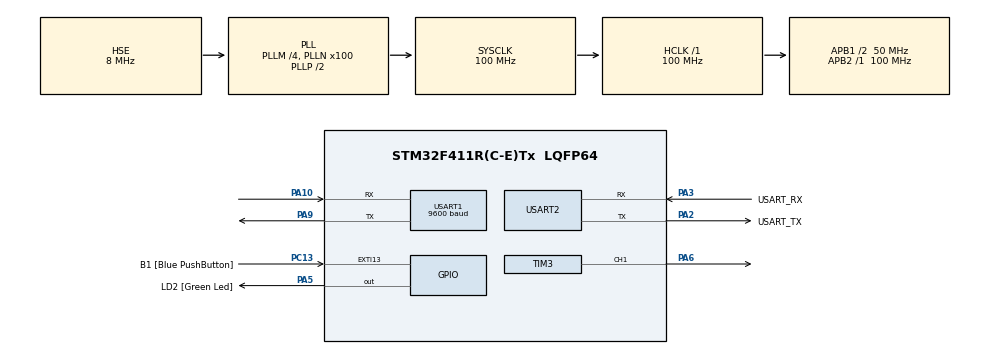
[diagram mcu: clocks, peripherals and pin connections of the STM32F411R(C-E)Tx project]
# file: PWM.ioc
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Mcu.Family=STM32F4
Mcu.Name=STM32F411R(C-E)Tx
Mcu.Package=LQFP64
NVIC.PriorityGroup=NVIC_PRIORITYGROUP_0
NVIC.USART1_IRQn=true\:0\:0\:false\:false\:true\:true\:true\:true
NVIC.USART2_IRQn=true\:0\:0\:false\:false\:true\:true\:true\:true
PA10.Mode=Asynchronous
PA10.Signal=USART1_RX
PA13.GPIO_Label=TMS
PA13.Mode=Serial_Wire
PA13.Signal=SYS_JTMS-SWDIO
PA14.GPIO_Label=TCK
PA14.Mode=Serial_Wire
PA14.Signal=SYS_JTCK-SWCLK
PA2.GPIO_Label=USART_TX
PA2.Mode=Asynchronous
PA2.Signal=USART2_TX
PA3.GPIO_Label=USART_RX
PA3.Mode=Asynchronous
PA3.Signal=USART2_RX
PA5.GPIO_Label=LD2 [Green Led]
PA5.Signal=GPIO_Output
PA6.Signal=S_TIM3_CH1
PA9.Mode=Asynchronous
PA9.Signal=USART1_TX
PB3.GPIO_Label=SWO
PB3.Signal=SYS_JTDO-SWO
PC13-ANTI_TAMP.GPIO_Label=B1 [Blue PushButton]
PC13-ANTI_TAMP.GPIO_ModeDefaultEXTI=GPIO_MODE_IT_FALLING
PC13-ANTI_TAMP.Signal=GPXTI13
PC14-OSC32_IN.Signal=RCC_OSC32_IN
PC15-OSC32_OUT.Signal=RCC_OSC32_OUT
PH0\ -\ OSC_IN.Mode=HSE-External-Oscillator
PH0\ -\ OSC_IN.Signal=RCC_OSC_IN
PH1\ -\ OSC_OUT.Mode=HSE-External-Oscillator
PH1\ -\ OSC_OUT.Signal=RCC_OSC_OUT
ProjectManager.HeapSize=0x200
ProjectManager.StackSize=0x400
ProjectManager.TargetToolchain=STM32CubeIDE
RCC.48MHZClocksFreq_Value=50000000
RCC.AHBFreq_Value=100000000
RCC.APB1CLKDivider=RCC_HCLK_DIV2
RCC.APB1Freq_Value=50000000
RCC.APB1TimFreq_Value=100000000
RCC.APB2Freq_Value=100000000
RCC.APB2TimFreq_Value=100000000
RCC.CortexFreq_Value=100000000
RCC.FLatency-AdvancedSettings=FLASH_LATENCY_3
RCC.HCLKFreq_Value=100000000
RCC.HSE_VALUE=8000000
RCC.HSI_VALUE=16000000
RCC.LSE_VALUE=32768
RCC.PLLM=4
RCC.PLLN=100
RCC.PLLSourceVirtual=RCC_PLLSOURCE_HSE
RCC.SYSCLKFreq_VALUE=100000000
RCC.SYSCLKSource=RCC_SYSCLKSOURCE_PLLCLK
RCC.VCOOutputFreq_Value=200000000
SH.S_TIM3_CH1.0=TIM3_CH1,PWM Generation1 CH1
TIM3.Channel-PWM\ Generation1\ CH1=TIM_CHANNEL_1
TIM3.Period=1000-1
TIM3.Prescaler=1000-1
USART1.BaudRate=9600
USART1.VirtualMode=VM_ASYNC
USART2.VirtualMode=VM_ASYNC
VP_TIM3_VS_ClockSourceINT.Mode=Internal
board=NUCLEO-F411RE

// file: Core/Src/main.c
/* USER CODE BEGIN Header */
/**
  ******************************************************************************
  * @file           : main.c
  * @brief          : Main program body
  ******************************************************************************
  * @attention
  *
  * Copyright (c) 2023 STMicroelectronics.
  * All rights reserved.
  *
  * This software is licensed under terms that can be found in the LICENSE file
  * in the root directory of this software component.
  * If no LICENSE file comes with this software, it is provided AS-IS.
  *
  ******************************************************************************
  */
/* USER CODE END Header */
#include "main.h"
#include "tim.h"
#include "usart.h"
#include "gpio.h"

/* USER CODE BEGIN Includes */
#include "stdio.h"
/* USER CODE END Includes */

/* USER CODE BEGIN PV */
  uint8_t rxData[1];
  uint8_t duty[3];
/* USER CODE END PV */

void SystemClock_Config(void);
/* USER CODE BEGIN PFP */
void HAL_UART_RxCpltCallback(UART_HandleTypeDef *huart)
{
	HAL_UART_Receive_IT(&huart2, rxData, sizeof(rxData)); // input from uart2
	HAL_UART_Receive_IT(&huart1, rxData, sizeof(rxData)); // input from uart2
	HAL_UART_Transmit_IT(&huart2, rxData, sizeof(rxData)); // output to uart2
	HAL_UART_Transmit_IT(&huart1, rxData, sizeof(rxData)); // output to uart2
}
/* USER CODE END PFP */

int main(void)
{

  /* MCU Configuration--------------------------------------------------------*/

  /* Reset of all peripherals, Initializes the Flash interface and the Systick. */
  HAL_Init();

  /* USER CODE BEGIN Init */
//  uint16_t dutyValue;

  /* USER CODE END Init */

  /* Configure the system clock */
  SystemClock_Config();

  /* Initialize all configured peripherals */
  MX_GPIO_Init();
  MX_TIM3_Init();
  MX_USART2_UART_Init();
  MX_USART1_UART_Init();
  /* USER CODE BEGIN 2 */
  HAL_TIM_PWM_Start(&htim3, TIM_CHANNEL_1);
  HAL_UART_Receive_IT(&huart1, rxData, sizeof(rxData));
  HAL_UART_Receive_IT(&huart2, rxData, sizeof(rxData));

  /* USER CODE END 2 */

  /* Infinite loop */
  while (1)
  {

    /* USER CODE BEGIN 3 */
//	  for(int i = 0 ; i < 10000 ; i++)
//	  {
//		  TIM3->CCR1 = i;
//		  HAL_Delay(1);
//	  }
//	  if(rxData[0] == 'a' || rxData[0] == 'b' || rxData[0] == 'c' || rxData[0] == 'd')
//	  {
//		  dutyValue = rxData[0];
//
//		  switch(dutyValue)
//		  {
//		  case 'a' :
//			  TIM3->CCR1 = 250; // 25% duty
//			  break;
//		  case 'b' :
//			  TIM3->CCR1 = 500; // 50% duty
//			  break;
//		  case 'c' :
//			  TIM3->CCR1 = 750; // 75% duty
//			  break;
//		  case 'd' :
//			  TIM3->CCR1 = 0; // 0% duty
//			  break;
//		  }
//	  }
//	  dutyValue = rxData[0];
	  duty[0] = atoi(rxData1);
	  duty[1] = atoi(rxData2);
	  duty[2] = atoi(rxData3);
	  TIM3->CCR1 = duty;
	  HAL_Delay(5);
  }
  /* USER CODE END 3 */
}

void SystemClock_Config(void)
{
  RCC_OscInitTypeDef RCC_OscInitStruct = {0};
  RCC_ClkInitTypeDef RCC_ClkInitStruct = {0};

  /** Configure the main internal regulator output voltage
  */
  __HAL_RCC_PWR_CLK_ENABLE();
  __HAL_PWR_VOLTAGESCALING_CONFIG(PWR_REGULATOR_VOLTAGE_SCALE1);

  /** Initializes the RCC Oscillators according to the specified parameters
  * in the RCC_OscInitTypeDef structure.
  */
  RCC_OscInitStruct.OscillatorType = RCC_OSCILLATORTYPE_HSE;
  RCC_OscInitStruct.HSEState = RCC_HSE_ON;
  RCC_OscInitStruct.PLL.PLLState = RCC_PLL_ON;
  RCC_OscInitStruct.PLL.PLLSource = RCC_PLLSOURCE_HSE;
  RCC_OscInitStruct.PLL.PLLM = 4;
  RCC_OscInitStruct.PLL.PLLN = 100;
  RCC_OscInitStruct.PLL.PLLP = RCC_PLLP_DIV2;
  RCC_OscInitStruct.PLL.PLLQ = 4;
  if (HAL_RCC_OscConfig(&RCC_OscInitStruct) != HAL_OK)
  {
    Error_Handler();
  }

  /** Initializes the CPU, AHB and APB buses clocks
  */
  RCC_ClkInitStruct.ClockType = RCC_CLOCKTYPE_HCLK|RCC_CLOCKTYPE_SYSCLK
                              |RCC_CLOCKTYPE_PCLK1|RCC_CLOCKTYPE_PCLK2;
  RCC_ClkInitStruct.SYSCLKSource = RCC_SYSCLKSOURCE_PLLCLK;
  RCC_ClkInitStruct.AHBCLKDivider = RCC_SYSCLK_DIV1;
  RCC_ClkInitStruct.APB1CLKDivider = RCC_HCLK_DIV2;
  RCC_ClkInitStruct.APB2CLKDivider = RCC_HCLK_DIV1;

  if (HAL_RCC_ClockConfig(&RCC_ClkInitStruct, FLASH_LATENCY_3) != HAL_OK)
  {
    Error_Handler();
  }
}

void Error_Handler(void)
{
  __disable_irq();
  while (1)
  {
  }
}
